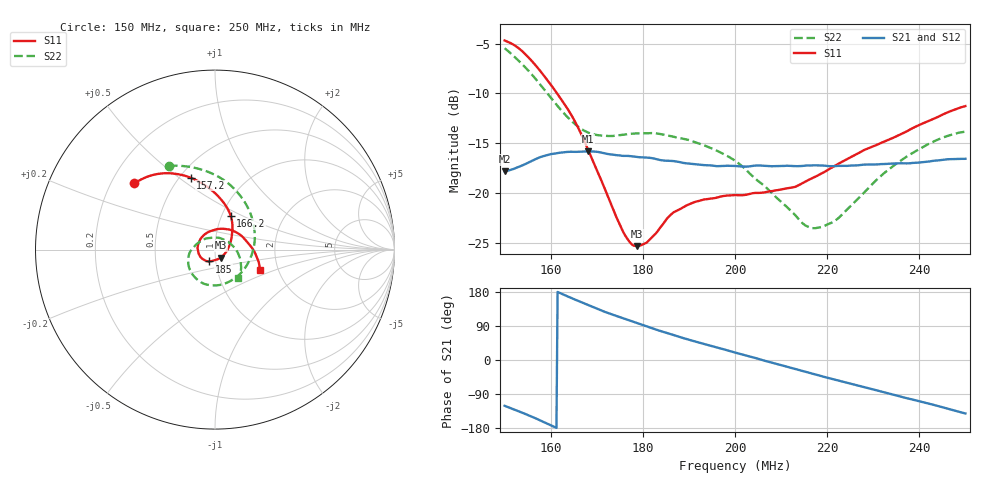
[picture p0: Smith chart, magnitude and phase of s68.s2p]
# Hz S MA R 50
! Planar, Obzor-304, 08125003, 3.51/02
! Äàòà: 26.03.2019 11:26:25
! ×àñòîòà  S11: Mag/Ang (F2)  S21: Mag/Ang (F2)  S12: Mag/Ang (F2)  S22: Mag/Ang (F2)
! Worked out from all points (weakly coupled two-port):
!   401 points, 150 MHz to 250 MHz, reference 50 ohm
!   highest |S21| = -15.79 dB at 168 MHz (marker M1); lowest = -17.8 dB at 150 MHz (marker M2)
!   lowest |S11| = -25.3 dB at 178.8 MHz (marker M3), VSWR 1.12, Z = 53.1 - j4.71 ohm
!   |S11| at or under -10 dB: 161.4 MHz to end of sweep
!   |S22| runs from -23.5 to -5.5 dB; largest |S21 - S12| = 0.0016
!   S11 on the Smith chart (normalised r, x): 150 MHz: 0.29, +0.33; 157.2 MHz: 0.57, +0.55; 166.2 MHz: 1.10, +0.43; 185 MHz: 0.93, -0.12; 250 MHz: 1.60, -0.40
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1.5e8  0.5825 140.7  0.1289 -120.8  0.1297 -120.4  0.5326 118.9
1.5375e8  0.5163 124.7  0.1377 -138.8  0.1385 -138.7  0.4444 97.6
1.5725e8  0.423 108.7  0.1503 -156.8  0.151 -156.8  0.3615 74.3
1.615e8  0.3139 89.8  0.1592 179.6  0.1597 179.6  0.2737 41.8
1.6625e8  0.2066 64.9  0.1614 154.6  0.1622 154.6  0.2133 0.2
1.6675e8  0.1953 62.0  0.1616 152.1  0.1625 152.2  0.2093 -4.2
1.68e8  0.1678 54.7  0.1624 145.8  0.1633 145.8  0.2022 -15.1
1.7175e8  0.1054 31.4  0.1586 127.0  0.1594 126.7  0.1943 -45.6
1.7575e8  0.06406 -10.4  0.1541 110.0  0.1538 109.7  0.1966 -72.3
1.775e8  0.05592 -35.5  0.1534 102.5  0.153 102.3  0.1988 -82.3
1.7875e8  0.05447 -54.2  0.152 97.3  0.1516 97.2  0.1995 -89.0
1.81e8  0.05723 -83.5  0.151 88.1  0.1505 87.9  0.2 -100.0
1.835e8  0.06613 -105.2  0.1472 77.7  0.1466 77.6  0.1987 -111.4
1.85e8  0.07357 -116.1  0.1458 72.3  0.1451 72.3  0.1958 -117.3
1.91e8  0.09012 -151.9  0.1402 50.1  0.1395 50.2  0.1816 -138.7
2e8  0.09813 164.1  0.1372 19.7  0.1368 20.2  0.1458 -170.6
2.125e8  0.1072 98.1  0.137 -22.0  0.138 -21.5  0.08038 130.6
2.1675e8  0.1191 76.7  0.138 -35.7  0.1392 -35.3  0.06704 97.3
2.22e8  0.1389 52.5  0.1372 -52.6  0.1381 -52.4  0.07385 49.4
2.335e8  0.1861 12.1  0.1409 -88.8  0.1416 -88.9  0.1323 -10.6
2.42e8  0.2303 -7.6  0.1441 -114.8  0.1448 -115.1  0.1768 -34.5
2.5e8  0.2735 -24.8  0.149 -141.1  0.149 -141.3  0.204 -51.7
